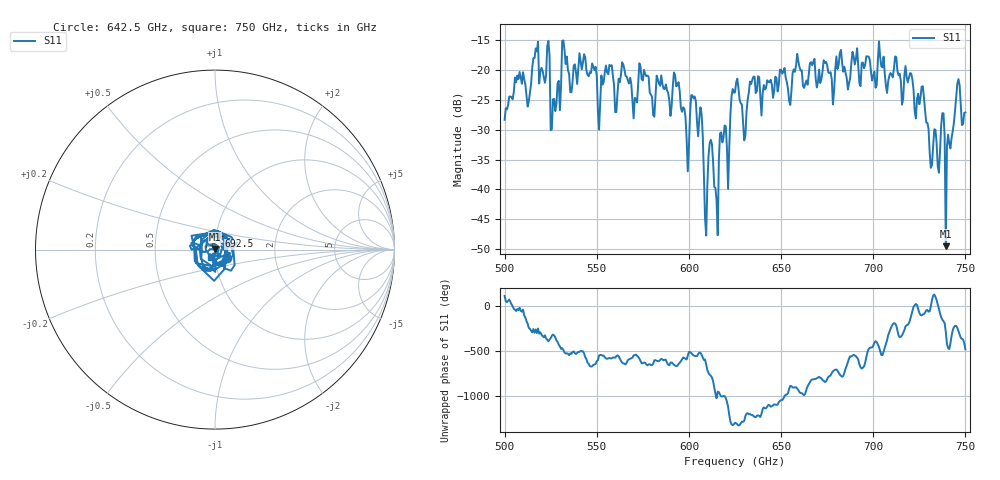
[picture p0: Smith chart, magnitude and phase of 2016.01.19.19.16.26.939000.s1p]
!Created with skrf (http://scikit-rf.org).
# GHz S RI R 50.0
!freq ReS11 ImS11
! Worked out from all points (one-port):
!   401 points, 500 GHz to 750 GHz, reference 50 ohm
!   lowest |S11| = -49.5 dB at 739.4 GHz (marker M1), VSWR 1.01, Z = 50.1 + j0.327 ohm
!   |S11| at or under -10 dB: start of sweep to end of sweep
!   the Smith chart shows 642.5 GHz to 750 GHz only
!   S11 on the Smith chart (normalised r, x): 642.5 GHz: 1.14, -0.11; 692.5 GHz: 1.03, +0.15; 750 GHz: 0.96, -0.07
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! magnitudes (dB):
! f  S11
! 500 GHz  -28.3
! 506.9 GHz  -20.9
! 513.1 GHz  -25.2
! 516.9 GHz  -16.4
! 523.1 GHz  -16.0
! 526.2 GHz  -24.9
! 531.2 GHz  -15.1
! 562.5 GHz  -22.1
! 593.8 GHz  -22.6
! 598.8 GHz  -31.5
! 602.5 GHz  -24.8
! 606.9 GHz  -27.3
! 608.8 GHz  -44.9
! 611.9 GHz  -31.7
! 614.4 GHz  -39.7
! 625 GHz  -23.7
! 630 GHz  -31.8
! 634.4 GHz  -21.6
! 642.5 GHz  -21.7
! 656.2 GHz  -20.5
! 687.5 GHz  -21.3
! 692.5 GHz  -22.2
! 718.8 GHz  -22.1
! 726.9 GHz  -22.7
! 731.2 GHz  -36.4
! 739.4 GHz  -49.5
! 745.6 GHz  -22.3
! 750 GHz  -27.1
